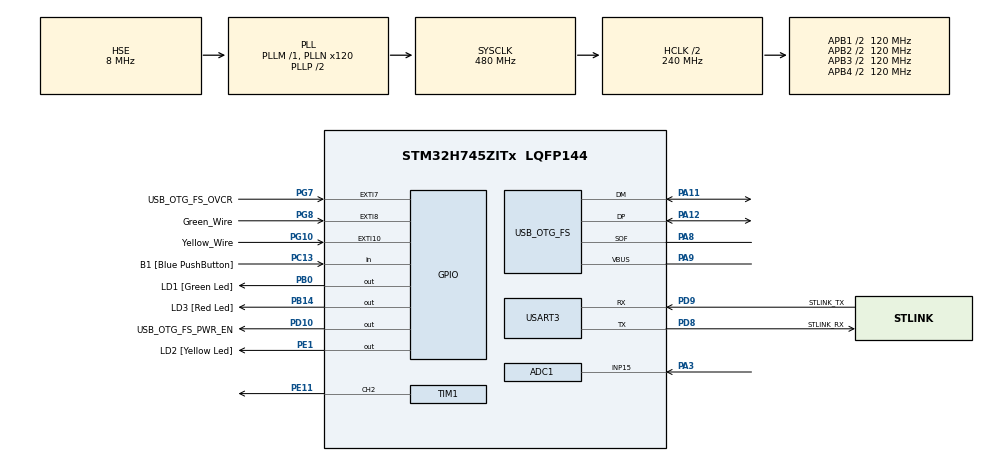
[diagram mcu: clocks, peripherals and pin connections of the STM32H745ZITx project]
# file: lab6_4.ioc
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ADC1.Channel-0\#ChannelRegularConversion=ADC_CHANNEL_15
ADC1.ClockPrescaler=ADC_CLOCK_ASYNC_DIV256
ADC1.ContinuousConvMode=ENABLE
ADC1.ConversionDataManagement=ADC_CONVERSIONDATA_DMA_CIRCULAR
ADC1.EOCSelection=ADC_EOC_SEQ_CONV
ADC1.NbrOfConversionFlag=1
ADC1.OffsetNumber-0\#ChannelRegularConversion=ADC_OFFSET_NONE
ADC1.OffsetSignedSaturation-0\#ChannelRegularConversion=DISABLE
ADC1.Overrun=ADC_OVR_DATA_OVERWRITTEN
ADC1.Rank-0\#ChannelRegularConversion=1
ADC1.Resolution=ADC_RESOLUTION_8B
ADC1.SamplingTime-0\#ChannelRegularConversion=ADC_SAMPLETIME_1CYCLE_5
ADC1.master=1
CortexM4.IPs=FATFS_M4\:I,FREERTOS_M4\:I,IWDG2\:I,RCC,WWDG2\:I,DMA,BDMA,MDMA,NVIC2\:I,USART3,DEBUG,USB_DEVICE_M4\:I,USB_HOST_M4\:I,PDM2PCM_M4\:I,PWR,RESMGR_UTILITY,SYS_M4\:I,CORTEX_M4\:I,OPENAMP_M4\:I,VREFBUF,GPIO
CortexM7.IPs=FATFS_M7\:I,FREERTOS_M7\:I,IWDG1\:I,RCC\:I,WWDG1\:I,DMA\:I,BDMA\:I,MDMA\:I,NVIC1\:I,SYS\:I,USART3\:I,USB_OTG_FS\:I,CORTEX_M7\:I,DEBUG\:I,USB_DEVICE_M7\:I,USB_HOST_M7\:I,PDM2PCM_M7\:I,PWR\:I,RESMGR_UTILITY\:I,OPENAMP_M7\:I,VREFBUF\:I,GPIO\:I,TIM13\:I,ADC1\:I,TIM2\:I,TIM1\:I,TIM5\:I
CortexM7.Pins=PB0,PB14,PG8,PG10,PE1
Dma.ADC1.0.Direction=DMA_PERIPH_TO_MEMORY
Dma.ADC1.0.EventEnable=DISABLE
Dma.ADC1.0.FIFOMode=DMA_FIFOMODE_DISABLE
Dma.ADC1.0.Instance=DMA1_Stream0
Dma.ADC1.0.MemDataAlignment=DMA_MDATAALIGN_HALFWORD
Dma.ADC1.0.MemInc=DMA_MINC_ENABLE
Dma.ADC1.0.Mode=DMA_CIRCULAR
Dma.ADC1.0.PeriphDataAlignment=DMA_PDATAALIGN_HALFWORD
Dma.ADC1.0.PeriphInc=DMA_PINC_DISABLE
Dma.ADC1.0.Polarity=HAL_DMAMUX_REQ_GEN_RISING
Dma.ADC1.0.Priority=DMA_PRIORITY_LOW
Dma.ADC1.0.RequestNumber=1
Dma.ADC1.0.SignalID=NONE
Dma.ADC1.0.SyncEnable=DISABLE
Dma.ADC1.0.SyncPolarity=HAL_DMAMUX_SYNC_NO_EVENT
Dma.ADC1.0.SyncRequestNumber=1
Dma.ADC1.0.SyncSignalID=NONE
Dma.Request0=ADC1
Mcu.Family=STM32H7
Mcu.Name=STM32H745ZITx
Mcu.Package=LQFP144
NVIC1.DMA1_Stream0_IRQn=true\:0\:0\:false\:false\:true\:false\:true\:true
NVIC1.EXTI15_10_IRQn=true\:0\:0\:false\:false\:true\:true\:true\:true
NVIC1.EXTI9_5_IRQn=true\:0\:0\:false\:false\:true\:true\:true\:true
NVIC1.PriorityGroup=NVIC_PRIORITYGROUP_4
NVIC1.TIM8_UP_TIM13_IRQn=true\:0\:0\:false\:false\:true\:true\:true\:true
NVIC2.PriorityGroup=NVIC_PRIORITYGROUP_4
PA1.PinAttribute=CortexM7
PA1.Signal=ETH_REF_CLK
PA11.Mode=Device_Only
PA11.PinAttribute=CortexM7
PA11.Signal=USB_OTG_FS_DM
PA12.Mode=Device_Only
PA12.PinAttribute=CortexM7
PA12.Signal=USB_OTG_FS_DP
PA2.PinAttribute=CortexM7
PA2.Signal=ETH_MDIO
PA3.PinAttribute=CortexM7
PA3.Signal=ADCx_INP15
PA7.PinAttribute=CortexM7
PA7.Signal=ETH_CRS_DV
PA8.Mode=Activate_SOF_FS
PA8.PinAttribute=CortexM7
PA8.Signal=USB_OTG_FS_SOF
PA9.Mode=Activate_VBUS
PA9.PinAttribute=CortexM7
PA9.Signal=USB_OTG_FS_VBUS
PB0.GPIO_Label=LD1 [Green Led]
PB0.GPIO_PuPd=GPIO_PULLUP
PB0.PinAttribute=CortexM7
PB0.Signal=GPIO_Output
PB13.PinAttribute=CortexM7
PB13.Signal=ETH_TXD1
PB14.GPIO_Label=LD3 [Red Led]
PB14.GPIO_PuPd=GPIO_PULLUP
PB14.PinAttribute=CortexM7
PB14.Signal=GPIO_Output
PC1.PinAttribute=CortexM7
PC1.Signal=ETH_MDC
PC13.GPIO_Label=B1 [Blue PushButton]
PC13.PinAttribute=Free
PC13.Signal=GPIO_Input
PC14-OSC32_IN\ (OSC32_IN).Mode=LSE-External-Oscillator
PC14-OSC32_IN\ (OSC32_IN).PinAttribute=CortexM7
PC14-OSC32_IN\ (OSC32_IN).Signal=RCC_OSC32_IN
PC15-OSC32_OUT\ (OSC32_OUT).Mode=LSE-External-Oscillator
PC15-OSC32_OUT\ (OSC32_OUT).PinAttribute=CortexM7
PC15-OSC32_OUT\ (OSC32_OUT).Signal=RCC_OSC32_OUT
PC4.PinAttribute=CortexM7
PC4.Signal=ETH_RXD0
PC5.PinAttribute=CortexM7
PC5.Signal=ETH_RXD1
PD10.GPIO_Label=USB_OTG_FS_PWR_EN
PD10.PinAttribute=Free
PD10.Signal=GPIO_Output
PD8.GPIO_Label=STLINK_RX
PD8.Mode=Asynchronous
PD8.PinAttribute=CortexM7
PD8.Signal=USART3_TX
PD9.GPIO_Label=STLINK_TX
PD9.Mode=Asynchronous
PD9.PinAttribute=CortexM7
PD9.Signal=USART3_RX
PE1.GPIO_Label=LD2 [Yellow Led]
PE1.GPIO_PuPd=GPIO_PULLUP
PE1.PinAttribute=CortexM7
PE1.Signal=GPIO_Output
PE11.PinAttribute=CortexM7
PE11.Signal=S_TIM1_CH2
PG10.GPIO_Label=Yellow_Wire
PG10.GPIO_ModeDefaultEXTI=GPIO_MODE_IT_RISING_FALLING
PG10.PinAttribute=CortexM7
PG10.Signal=GPXTI10
PG11.PinAttribute=CortexM7
PG11.Signal=ETH_TX_EN
PG13.PinAttribute=CortexM7
PG13.Signal=ETH_TXD0
PG7.GPIO_Label=USB_OTG_FS_OVCR
PG7.PinAttribute=Free
PG7.Signal=GPXTI7
PG8.GPIO_Label=Green_Wire
PG8.GPIO_ModeDefaultEXTI=GPIO_MODE_IT_RISING_FALLING
PG8.PinAttribute=CortexM7
PG8.Signal=GPXTI8
PH0-OSC_IN\ (PH0).Mode=HSE-External-Clock-Source
PH0-OSC_IN\ (PH0).PinAttribute=CortexM7
PH0-OSC_IN\ (PH0).Signal=RCC_OSC_IN
PH1-OSC_OUT\ (PH1).PinAttribute=CortexM7
PH1-OSC_OUT\ (PH1).Signal=RCC_OSC_OUT
ProjectManager.HeapSize=M4-0x200,M7-0x200
ProjectManager.StackSize=M4-0x400,M7-0x400
ProjectManager.TargetToolchain=STM32CubeIDE
RCC.ADCFreq_Value=150000000
RCC.APB1Freq_Value=120000000
RCC.APB2Freq_Value=120000000
RCC.APB3Freq_Value=120000000
RCC.APB4Freq_Value=120000000
RCC.CortexFreq_Value=480000000
RCC.D1PPRE=RCC_APB3_DIV2
RCC.D2PPRE1=RCC_APB1_DIV2
RCC.D2PPRE2=RCC_APB2_DIV2
RCC.D3PPRE=RCC_APB4_DIV2
RCC.DIVM1=1
RCC.DIVM2=1
RCC.DIVM3=1
RCC.DIVN1=120
RCC.DIVN2=18
RCC.DIVN3=18
RCC.DIVP2=1
RCC.DIVQ3=3
RCC.HCLKFreq_Value=240000000
RCC.HPRE=RCC_HCLK_DIV2
RCC.HSE_VALUE=8000000
RCC.PLL2FRACN=6144
RCC.PLL3FRACN=6144
RCC.PLLFRACN=0
RCC.SYSCLKFreq_VALUE=480000000
RCC.SYSCLKSource=RCC_SYSCLKSOURCE_PLLCLK
RCC.SupplySource=PWR_DIRECT_SMPS_SUPPLY
RCC.USBCLockSelection=RCC_USBCLKSOURCE_PLL3
RCC.USBFreq_Value=50000000
SH.ADCx_INP15.0=ADC1_INP15,IN15-Single-Ended
SH.S_TIM1_CH2.0=TIM1_CH2,PWM Generation2 CH2
TIM1.Channel-PWM\ Generation2\ CH2=TIM_CHANNEL_2
TIM1.Period=100-1
TIM1.Prescaler=240-1
TIM13.Period=100-1
TIM13.Prescaler=24000-1
TIM2.Prescaler=240-1
TIM5.Prescaler=230
USART3.VirtualMode-Asynchronous=VM_ASYNC
USB_OTG_FS.VirtualMode=Device_Only
VP_SYS_M4_VS_Systick.Mode=SysTick
VP_TIM13_VS_ClockSourceINT.Mode=Enable_Timer
VP_TIM1_VS_ClockSourceINT.Mode=Internal
VP_TIM2_VS_ClockSourceINT.Mode=Internal
VP_TIM5_VS_ClockSourceINT.Mode=Internal
board=NUCLEO-H745ZI-Q

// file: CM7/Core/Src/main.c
/* USER CODE BEGIN Header */
/**
  ******************************************************************************
  * @file           : main.c
  * @brief          : Main program body
  ******************************************************************************
  * @attention
  *
  * Copyright (c) 2022 STMicroelectronics.
  * All rights reserved.
  *
  * This software is licensed under terms that can be found in the LICENSE file
  * in the root directory of this software component.
  * If no LICENSE file comes with this software, it is provided AS-IS.
  *
  ******************************************************************************
  */
/* USER CODE END Header */
#include "main.h"

/* USER CODE BEGIN Includes */
#include "stdio.h"
/* USER CODE END Includes */

/* USER CODE BEGIN PD */

#ifndef HSEM_ID_0
#define HSEM_ID_0 (0U) /* HW semaphore 0*/
#endif

#define CHANNELS 1
/* USER CODE END PD */

ADC_HandleTypeDef hadc1;
DMA_HandleTypeDef hdma_adc1;

TIM_HandleTypeDef htim1;
TIM_HandleTypeDef htim2;
TIM_HandleTypeDef htim5;
TIM_HandleTypeDef htim13;

UART_HandleTypeDef huart3;

PCD_HandleTypeDef hpcd_USB_OTG_FS;

/* USER CODE BEGIN PV */
// ADC VARIABLES
volatile uint16_t adcValues[CHANNELS];
volatile uint8_t adcFlag = 0;

// ENCODER VARIABLES
uint8_t yellowState = 0, yellowState_1 = 0;
int time = 0, timeValue = 0, timeValue_1 = 0;

// SERIAL VARIABLES
uint16_t uart_buf[50];
int uart_buf_len;

// CONTROL VARIABLES
uint16_t reference, rpm;
float ts = 0.01, control, error, errorPrev;
float kp = 2.04;
float ki = 0.426;
//float kd = 0.0907;

unsigned timer_val;

uint32_t pk, pkPrev;

/* USER CODE END PV */

void SystemClock_Config(void);
static void MX_GPIO_Init(void);
static void MX_USART3_UART_Init(void);
static void MX_USB_OTG_FS_PCD_Init(void);
static void MX_ADC1_Init(void);
static void MX_TIM13_Init(void);
static void MX_DMA_Init(void);
static void MX_TIM2_Init(void);
static void MX_TIM1_Init(void);
static void MX_TIM5_Init(void);

int main(void)
{
/* USER CODE BEGIN Boot_Mode_Sequence_0 */
  int32_t timeout;
/* USER CODE END Boot_Mode_Sequence_0 */

/* USER CODE BEGIN Boot_Mode_Sequence_1 */
  /* Wait until CPU2 boots and enters in stop mode or timeout*/
  timeout = 0xFFFF;
  while((__HAL_RCC_GET_FLAG(RCC_FLAG_D2CKRDY) != RESET) && (timeout-- > 0));
  if ( timeout < 0 )
  {
  Error_Handler();
  }
/* USER CODE END Boot_Mode_Sequence_1 */
  /* MCU Configuration--------------------------------------------------------*/

  /* Reset of all peripherals, Initializes the Flash interface and the Systick. */
  HAL_Init();

  /* Configure the system clock */
  SystemClock_Config();
/* USER CODE BEGIN Boot_Mode_Sequence_2 */
/* When system initialization is finished, Cortex-M7 will release Cortex-M4 by means of
HSEM notification */
/*HW semaphore Clock enable*/
__HAL_RCC_HSEM_CLK_ENABLE();
/*Take HSEM */
HAL_HSEM_FastTake(HSEM_ID_0);
/*Release HSEM in order to notify the CPU2(CM4)*/
HAL_HSEM_Release(HSEM_ID_0,0);
/* wait until CPU2 wakes up from stop mode */
timeout = 0xFFFF;
while((__HAL_RCC_GET_FLAG(RCC_FLAG_D2CKRDY) == RESET) && (timeout-- > 0));
if ( timeout < 0 )
{
Error_Handler();
}
/* USER CODE END Boot_Mode_Sequence_2 */

  /* Initialize all configured peripherals */
  MX_GPIO_Init();
  MX_USART3_UART_Init();
  MX_USB_OTG_FS_PCD_Init();
  MX_ADC1_Init();
  MX_TIM13_Init();
  MX_DMA_Init();
  MX_TIM2_Init();
  MX_TIM1_Init();
  MX_TIM5_Init();

  /* Infinite loop */
  /* USER CODE BEGIN WHILE */
  uart_buf_len = sprintf(uart_buf, "START!!...\r\n");
  HAL_UART_Transmit(&huart3, (int16_t *)uart_buf, uart_buf_len, HAL_MAX_DELAY);

  HAL_ADC_Start_DMA(&hadc1, (uint32_t*)&adcValues[0], CHANNELS);
  HAL_TIM_Base_Start_IT(&htim13);
  HAL_TIM_Base_Start(&htim2);
  TIM1->CCR2 = 0;
  HAL_TIM_PWM_Start(&htim1, TIM_CHANNEL_2);

  timer_val = __HAL_TIM_GET_COUNTER(&htim5);

  while (1)
  {
    /* USER CODE END WHILE */

  }
}

void SystemClock_Config(void)
{
  RCC_OscInitTypeDef RCC_OscInitStruct = {0};
  RCC_ClkInitTypeDef RCC_ClkInitStruct = {0};

  /** Supply configuration update enable
  */
  HAL_PWREx_ConfigSupply(PWR_DIRECT_SMPS_SUPPLY);

  /** Configure the main internal regulator output voltage
  */
  __HAL_PWR_VOLTAGESCALING_CONFIG(PWR_REGULATOR_VOLTAGE_SCALE0);

  while(!__HAL_PWR_GET_FLAG(PWR_FLAG_VOSRDY)) {}

  /** Macro to configure the PLL clock source
  */
  __HAL_RCC_PLL_PLLSOURCE_CONFIG(RCC_PLLSOURCE_HSE);

  /** Initializes the RCC Oscillators according to the specified parameters
  * in the RCC_OscInitTypeDef structure.
  */
  RCC_OscInitStruct.OscillatorType = RCC_OSCILLATORTYPE_HSE;
  RCC_OscInitStruct.HSEState = RCC_HSE_BYPASS;
  RCC_OscInitStruct.PLL.PLLState = RCC_PLL_ON;
  RCC_OscInitStruct.PLL.PLLSource = RCC_PLLSOURCE_HSE;
  RCC_OscInitStruct.PLL.PLLM = 1;
  RCC_OscInitStruct.PLL.PLLN = 120;
  RCC_OscInitStruct.PLL.PLLP = 2;
  RCC_OscInitStruct.PLL.PLLQ = 2;
  RCC_OscInitStruct.PLL.PLLR = 2;
  RCC_OscInitStruct.PLL.PLLRGE = RCC_PLL1VCIRANGE_3;
  RCC_OscInitStruct.PLL.PLLVCOSEL = RCC_PLL1VCOWIDE;
  RCC_OscInitStruct.PLL.PLLFRACN = 0;
  if (HAL_RCC_OscConfig(&RCC_OscInitStruct) != HAL_OK)
  {
    Error_Handler();
  }

  /** Initializes the CPU, AHB and APB buses clocks
  */
  RCC_ClkInitStruct.ClockType = RCC_CLOCKTYPE_HCLK|RCC_CLOCKTYPE_SYSCLK
                              |RCC_CLOCKTYPE_PCLK1|RCC_CLOCKTYPE_PCLK2
                              |RCC_CLOCKTYPE_D3PCLK1|RCC_CLOCKTYPE_D1PCLK1;
  RCC_ClkInitStruct.SYSCLKSource = RCC_SYSCLKSOURCE_PLLCLK;
  RCC_ClkInitStruct.SYSCLKDivider = RCC_SYSCLK_DIV1;
  RCC_ClkInitStruct.AHBCLKDivider = RCC_HCLK_DIV2;
  RCC_ClkInitStruct.APB3CLKDivider = RCC_APB3_DIV2;
  RCC_ClkInitStruct.APB1CLKDivider = RCC_APB1_DIV2;
  RCC_ClkInitStruct.APB2CLKDivider = RCC_APB2_DIV2;
  RCC_ClkInitStruct.APB4CLKDivider = RCC_APB4_DIV2;

  if (HAL_RCC_ClockConfig(&RCC_ClkInitStruct, FLASH_LATENCY_4) != HAL_OK)
  {
    Error_Handler();
  }
}

static void MX_ADC1_Init(void)
{

  ADC_MultiModeTypeDef multimode = {0};
  ADC_ChannelConfTypeDef sConfig = {0};

  /** Common config
  */
  hadc1.Instance = ADC1;
  hadc1.Init.ClockPrescaler = ADC_CLOCK_ASYNC_DIV256;
  hadc1.Init.Resolution = ADC_RESOLUTION_8B;
  hadc1.Init.ScanConvMode = ADC_SCAN_DISABLE;
  hadc1.Init.EOCSelection = ADC_EOC_SEQ_CONV;
  hadc1.Init.LowPowerAutoWait = DISABLE;
  hadc1.Init.ContinuousConvMode = ENABLE;
  hadc1.Init.NbrOfConversion = 1;
  hadc1.Init.DiscontinuousConvMode = DISABLE;
  hadc1.Init.ExternalTrigConv = ADC_SOFTWARE_START;
  hadc1.Init.ExternalTrigConvEdge = ADC_EXTERNALTRIGCONVEDGE_NONE;
  hadc1.Init.ConversionDataManagement = ADC_CONVERSIONDATA_DMA_CIRCULAR;
  hadc1.Init.Overrun = ADC_OVR_DATA_OVERWRITTEN;
  hadc1.Init.LeftBitShift = ADC_LEFTBITSHIFT_NONE;
  hadc1.Init.OversamplingMode = DISABLE;
  if (HAL_ADC_Init(&hadc1) != HAL_OK)
  {
    Error_Handler();
  }

  /** Configure the ADC multi-mode
  */
  multimode.Mode = ADC_MODE_INDEPENDENT;
  if (HAL_ADCEx_MultiModeConfigChannel(&hadc1, &multimode) != HAL_OK)
  {
    Error_Handler();
  }

  /** Configure Regular Channel
  */
  sConfig.Channel = ADC_CHANNEL_15;
  sConfig.Rank = ADC_REGULAR_RANK_1;
  sConfig.SamplingTime = ADC_SAMPLETIME_1CYCLE_5;
  sConfig.SingleDiff = ADC_SINGLE_ENDED;
  sConfig.OffsetNumber = ADC_OFFSET_NONE;
  sConfig.Offset = 0;
  sConfig.OffsetSignedSaturation = DISABLE;
  if (HAL_ADC_ConfigChannel(&hadc1, &sConfig) != HAL_OK)
  {
    Error_Handler();
  }

}

static void MX_TIM1_Init(void)
{

  TIM_ClockConfigTypeDef sClockSourceConfig = {0};
  TIM_MasterConfigTypeDef sMasterConfig = {0};
  TIM_OC_InitTypeDef sConfigOC = {0};
  TIM_BreakDeadTimeConfigTypeDef sBreakDeadTimeConfig = {0};

  htim1.Instance = TIM1;
  htim1.Init.Prescaler = 240-1;
  htim1.Init.CounterMode = TIM_COUNTERMODE_UP;
  htim1.Init.Period = 100-1;
  htim1.Init.ClockDivision = TIM_CLOCKDIVISION_DIV1;
  htim1.Init.RepetitionCounter = 0;
  htim1.Init.AutoReloadPreload = TIM_AUTORELOAD_PRELOAD_DISABLE;
  if (HAL_TIM_Base_Init(&htim1) != HAL_OK)
  {
    Error_Handler();
  }
  sClockSourceConfig.ClockSource = TIM_CLOCKSOURCE_INTERNAL;
  if (HAL_TIM_ConfigClockSource(&htim1, &sClockSourceConfig) != HAL_OK)
  {
    Error_Handler();
  }
  if (HAL_TIM_PWM_Init(&htim1) != HAL_OK)
  {
    Error_Handler();
  }
  sMasterConfig.MasterOutputTrigger = TIM_TRGO_RESET;
  sMasterConfig.MasterOutputTrigger2 = TIM_TRGO2_RESET;
  sMasterConfig.MasterSlaveMode = TIM_MASTERSLAVEMODE_DISABLE;
  if (HAL_TIMEx_MasterConfigSynchronization(&htim1, &sMasterConfig) != HAL_OK)
  {
    Error_Handler();
  }
  sConfigOC.OCMode = TIM_OCMODE_PWM1;
  sConfigOC.Pulse = 0;
  sConfigOC.OCPolarity = TIM_OCPOLARITY_HIGH;
  sConfigOC.OCNPolarity = TIM_OCNPOLARITY_HIGH;
  sConfigOC.OCFastMode = TIM_OCFAST_DISABLE;
  sConfigOC.OCIdleState = TIM_OCIDLESTATE_RESET;
  sConfigOC.OCNIdleState = TIM_OCNIDLESTATE_RESET;
  if (HAL_TIM_PWM_ConfigChannel(&htim1, &sConfigOC, TIM_CHANNEL_2) != HAL_OK)
  {
    Error_Handler();
  }
  sBreakDeadTimeConfig.OffStateRunMode = TIM_OSSR_DISABLE;
  sBreakDeadTimeConfig.OffStateIDLEMode = TIM_OSSI_DISABLE;
  sBreakDeadTimeConfig.LockLevel = TIM_LOCKLEVEL_OFF;
  sBreakDeadTimeConfig.DeadTime = 0;
  sBreakDeadTimeConfig.BreakState = TIM_BREAK_DISABLE;
  sBreakDeadTimeConfig.BreakPolarity = TIM_BREAKPOLARITY_HIGH;
  sBreakDeadTimeConfig.BreakFilter = 0;
  sBreakDeadTimeConfig.Break2State = TIM_BREAK2_DISABLE;
  sBreakDeadTimeConfig.Break2Polarity = TIM_BREAK2POLARITY_HIGH;
  sBreakDeadTimeConfig.Break2Filter = 0;
  sBreakDeadTimeConfig.AutomaticOutput = TIM_AUTOMATICOUTPUT_DISABLE;
  if (HAL_TIMEx_ConfigBreakDeadTime(&htim1, &sBreakDeadTimeConfig) != HAL_OK)
  {
    Error_Handler();
  }
  HAL_TIM_MspPostInit(&htim1);

}

static void MX_TIM2_Init(void)
{

  TIM_ClockConfigTypeDef sClockSourceConfig = {0};
  TIM_MasterConfigTypeDef sMasterConfig = {0};

  htim2.Instance = TIM2;
  htim2.Init.Prescaler = 240-1;
  htim2.Init.CounterMode = TIM_COUNTERMODE_UP;
  htim2.Init.Period = 4294967295;
  htim2.Init.ClockDivision = TIM_CLOCKDIVISION_DIV1;
  htim2.Init.AutoReloadPreload = TIM_AUTORELOAD_PRELOAD_DISABLE;
  if (HAL_TIM_Base_Init(&htim2) != HAL_OK)
  {
    Error_Handler();
  }
  sClockSourceConfig.ClockSource = TIM_CLOCKSOURCE_INTERNAL;
  if (HAL_TIM_ConfigClockSource(&htim2, &sClockSourceConfig) != HAL_OK)
  {
    Error_Handler();
  }
  sMasterConfig.MasterOutputTrigger = TIM_TRGO_RESET;
  sMasterConfig.MasterSlaveMode = TIM_MASTERSLAVEMODE_DISABLE;
  if (HAL_TIMEx_MasterConfigSynchronization(&htim2, &sMasterConfig) != HAL_OK)
  {
    Error_Handler();
  }

}

static void MX_TIM5_Init(void)
{

  TIM_ClockConfigTypeDef sClockSourceConfig = {0};
  TIM_MasterConfigTypeDef sMasterConfig = {0};

  htim5.Instance = TIM5;
  htim5.Init.Prescaler = 230;
  htim5.Init.CounterMode = TIM_COUNTERMODE_UP;
  htim5.Init.Period = 4294967295;
  htim5.Init.ClockDivision = TIM_CLOCKDIVISION_DIV1;
  htim5.Init.AutoReloadPreload = TIM_AUTORELOAD_PRELOAD_DISABLE;
  if (HAL_TIM_Base_Init(&htim5) != HAL_OK)
  {
    Error_Handler();
  }
  sClockSourceConfig.ClockSource = TIM_CLOCKSOURCE_INTERNAL;
  if (HAL_TIM_ConfigClockSource(&htim5, &sClockSourceConfig) != HAL_OK)
  {
    Error_Handler();
  }
  sMasterConfig.MasterOutputTrigger = TIM_TRGO_RESET;
  sMasterConfig.MasterSlaveMode = TIM_MASTERSLAVEMODE_DISABLE;
  if (HAL_TIMEx_MasterConfigSynchronization(&htim5, &sMasterConfig) != HAL_OK)
  {
    Error_Handler();
  }

}

static void MX_TIM13_Init(void)
{

  htim13.Instance = TIM13;
  htim13.Init.Prescaler = 24000-1;
  htim13.Init.CounterMode = TIM_COUNTERMODE_UP;
  htim13.Init.Period = 100-1;
  htim13.Init.ClockDivision = TIM_CLOCKDIVISION_DIV1;
  htim13.Init.AutoReloadPreload = TIM_AUTORELOAD_PRELOAD_DISABLE;
  if (HAL_TIM_Base_Init(&htim13) != HAL_OK)
  {
    Error_Handler();
  }

}

static void MX_USART3_UART_Init(void)
{

  huart3.Instance = USART3;
  huart3.Init.BaudRate = 115200;
  huart3.Init.WordLength = UART_WORDLENGTH_8B;
  huart3.Init.StopBits = UART_STOPBITS_1;
  huart3.Init.Parity = UART_PARITY_NONE;
  huart3.Init.Mode = UART_MODE_TX_RX;
  huart3.Init.HwFlowCtl = UART_HWCONTROL_NONE;
  huart3.Init.OverSampling = UART_OVERSAMPLING_16;
  huart3.Init.OneBitSampling = UART_ONE_BIT_SAMPLE_DISABLE;
  huart3.Init.ClockPrescaler = UART_PRESCALER_DIV1;
  huart3.AdvancedInit.AdvFeatureInit = UART_ADVFEATURE_NO_INIT;
  if (HAL_UART_Init(&huart3) != HAL_OK)
  {
    Error_Handler();
  }
  if (HAL_UARTEx_SetTxFifoThreshold(&huart3, UART_TXFIFO_THRESHOLD_1_8) != HAL_OK)
  {
    Error_Handler();
  }
  if (HAL_UARTEx_SetRxFifoThreshold(&huart3, UART_RXFIFO_THRESHOLD_1_8) != HAL_OK)
  {
    Error_Handler();
  }
  if (HAL_UARTEx_DisableFifoMode(&huart3) != HAL_OK)
  {
    Error_Handler();
  }

}

static void MX_USB_OTG_FS_PCD_Init(void)
{

  hpcd_USB_OTG_FS.Instance = USB_OTG_FS;
  hpcd_USB_OTG_FS.Init.dev_endpoints = 9;
  hpcd_USB_OTG_FS.Init.speed = PCD_SPEED_FULL;
  hpcd_USB_OTG_FS.Init.dma_enable = DISABLE;
  hpcd_USB_OTG_FS.Init.phy_itface = PCD_PHY_EMBEDDED;
  hpcd_USB_OTG_FS.Init.Sof_enable = DISABLE;
  hpcd_USB_OTG_FS.Init.low_power_enable = DISABLE;
  hpcd_USB_OTG_FS.Init.lpm_enable = DISABLE;
  hpcd_USB_OTG_FS.Init.battery_charging_enable = ENABLE;
  hpcd_USB_OTG_FS.Init.vbus_sensing_enable = ENABLE;
  hpcd_USB_OTG_FS.Init.use_dedicated_ep1 = DISABLE;
  if (HAL_PCD_Init(&hpcd_USB_OTG_FS) != HAL_OK)
  {
    Error_Handler();
  }

}

static void MX_DMA_Init(void)
{

  /* DMA controller clock enable */
  __HAL_RCC_DMA1_CLK_ENABLE();

  /* DMA interrupt init */
  /* DMA1_Stream0_IRQn interrupt configuration */
  HAL_NVIC_SetPriority(DMA1_Stream0_IRQn, 0, 0);
  HAL_NVIC_EnableIRQ(DMA1_Stream0_IRQn);

}

static void MX_GPIO_Init(void)
{
  GPIO_InitTypeDef GPIO_InitStruct = {0};

  /* GPIO Ports Clock Enable */
  __HAL_RCC_GPIOC_CLK_ENABLE();
  __HAL_RCC_GPIOH_CLK_ENABLE();
  __HAL_RCC_GPIOA_CLK_ENABLE();
  __HAL_RCC_GPIOB_CLK_ENABLE();
  __HAL_RCC_GPIOE_CLK_ENABLE();
  __HAL_RCC_GPIOD_CLK_ENABLE();
  __HAL_RCC_GPIOG_CLK_ENABLE();

  /*Configure GPIO pin Output Level */
  HAL_GPIO_WritePin(GPIOB, LD1_Pin|LD3_Pin, GPIO_PIN_RESET);

  /*Configure GPIO pin Output Level */
  HAL_GPIO_WritePin(LD2_GPIO_Port, LD2_Pin, GPIO_PIN_RESET);

  /*Configure GPIO pins : LD1_Pin LD3_Pin */
  GPIO_InitStruct.Pin = LD1_Pin|LD3_Pin;
  GPIO_InitStruct.Mode = GPIO_MODE_OUTPUT_PP;
  GPIO_InitStruct.Pull = GPIO_PULLUP;
  GPIO_InitStruct.Speed = GPIO_SPEED_FREQ_LOW;
  HAL_GPIO_Init(GPIOB, &GPIO_InitStruct);

  /*Configure GPIO pins : Green_Wire_Pin Yellow_Wire_Pin */
  GPIO_InitStruct.Pin = Green_Wire_Pin|Yellow_Wire_Pin;
  GPIO_InitStruct.Mode = GPIO_MODE_IT_RISING_FALLING;
  GPIO_InitStruct.Pull = GPIO_NOPULL;
  HAL_GPIO_Init(GPIOG, &GPIO_InitStruct);

  /*Configure GPIO pin : LD2_Pin */
  GPIO_InitStruct.Pin = LD2_Pin;
  GPIO_InitStruct.Mode = GPIO_MODE_OUTPUT_PP;
  GPIO_InitStruct.Pull = GPIO_PULLUP;
  GPIO_InitStruct.Speed = GPIO_SPEED_FREQ_LOW;
  HAL_GPIO_Init(LD2_GPIO_Port, &GPIO_InitStruct);

  /* EXTI interrupt init*/
  HAL_NVIC_SetPriority(EXTI9_5_IRQn, 0, 0);
  HAL_NVIC_EnableIRQ(EXTI9_5_IRQn);

  HAL_NVIC_SetPriority(EXTI15_10_IRQn, 0, 0);
  HAL_NVIC_EnableIRQ(EXTI15_10_IRQn);

}

/* USER CODE BEGIN 4 */

void HAL_TIM_PeriodElapsedCallback (TIM_HandleTypeDef *htim)
{
	if (htim == &htim13)
	{
		// Pasa a PWM (0-100) el valor leído del ADC (0-255)
		//TIM1->CCR2 = (int) adcValues[0]/255.0*100.0;

		// Pasa a RPM (0-120) el valor leído del ADC (0-255)
		reference = adcValues[0]/255.0*275.0;

		// Obtiene las revoluciones por minuto del encoder del motor
		//		60000000 = 1 min en us
		//		11 = Las señales mandadas por el encoder en una revolución
		//		45 = Relación de reducción del motor
		//		time = el tiempo entre señales del encoder
		rpm = (60000000.0/(11.0*34.0*time));

		// Control

		pkPrev = TIM1->CCR2;
		error = reference - rpm;
		control = kp*error + ki*ts*(error + errorPrev);// + (kd/ts)*(error - errorPrev);
		pk = pkPrev + control;
		errorPrev = error;

		if (pk >= 100){
			TIM1->CCR2 = 100;
		}else if (pk <= 0){
			TIM1->CCR2 = 0;
		}else{
			TIM1->CCR2 = pk;
		}

		//TIM1->CCR2 = (int) (2.05 + 11.5*ts*(1/(adcValues[0] - 1)) + 0.0907*(1/ts)*((adcValues[0] - 1)/adcValues[0]))/275.0*100.0

		// Número de elemento que se enviará por uart
		uart_buf_len = 4;
		// Los elementos a eviar por uart
		uart_buf[0] = reference;
		uart_buf[1] = rpm;
		// Envío por por uart
		HAL_UART_Transmit(&huart3, (uint16_t *)uart_buf, uart_buf_len, HAL_MAX_DELAY);
	}
}

void HAL_ADC_ConvCpltCallback(ADC_HandleTypeDef *hadc)
{
	HAL_ADC_Stop_DMA(&hadc1);
	// Iniciar el ADC por DMA
	HAL_ADC_Start_DMA(&hadc1, (uint32_t*)&adcValues[0], CHANNELS);
}

// Para medir el tiempo entre señales (time)
void HAL_GPIO_EXTI_Callback(uint16_t GPIO_Pin){

	if (GPIO_Pin == Yellow_Wire_Pin)
	{
		// Se guarda el estado actual de la señal
		yellowState = HAL_GPIO_ReadPin(GPIOG, GPIO_PIN_10);
		// Si el estado anterior fue flanco de bajada y el actual es flanco de subida
		if(!yellowState_1 && yellowState) {
			// Se guarda el tiempo actual
		    timeValue = __HAL_TIM_GET_COUNTER(&htim2);
		    // Se le resta al tiempo actual el tiempo anterior para obtener el tiempo de la señal
		    time = timeValue - timeValue_1;
		    // Se guarda el tiempo actual en la variable del anterior
		    timeValue_1 = timeValue;

		}
		// Se guarda el estado actual en la variable del estado anterior
		yellowState_1 = yellowState;
	}
}
/* USER CODE END 4 */

void Error_Handler(void)
{
  __disable_irq();
  while (1)
  {
  }
}
